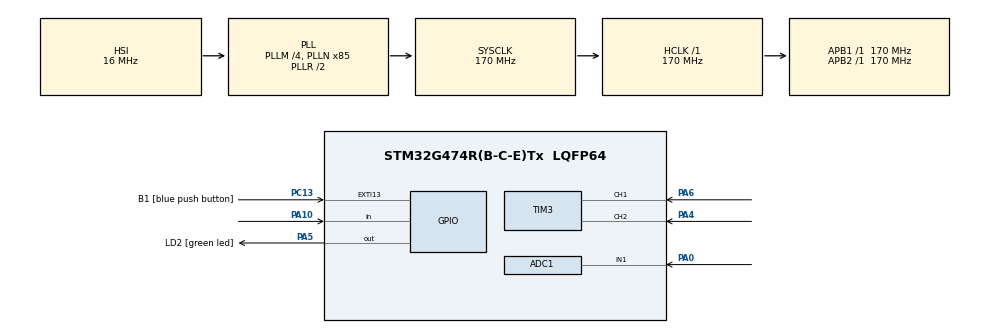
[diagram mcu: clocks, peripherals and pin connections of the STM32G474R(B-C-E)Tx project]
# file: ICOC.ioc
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ADC1.Channel-0\#ChannelRegularConversion=ADC_CHANNEL_1
ADC1.ContinuousConvMode=ENABLE
ADC1.DMAContinuousRequests=ENABLE
ADC1.EOCSelection=ADC_EOC_SINGLE_CONV
ADC1.NbrOfConversionFlag=1
ADC1.OffsetNumber-0\#ChannelRegularConversion=ADC_OFFSET_NONE
ADC1.Rank-0\#ChannelRegularConversion=1
ADC1.SamplingTime-0\#ChannelRegularConversion=ADC_SAMPLETIME_2CYCLES_5
ADC1.master=1
Dma.ADC1.0.Direction=DMA_PERIPH_TO_MEMORY
Dma.ADC1.0.EventEnable=DISABLE
Dma.ADC1.0.Instance=DMA1_Channel1
Dma.ADC1.0.MemDataAlignment=DMA_MDATAALIGN_HALFWORD
Dma.ADC1.0.MemInc=DMA_MINC_ENABLE
Dma.ADC1.0.Mode=DMA_CIRCULAR
Dma.ADC1.0.PeriphDataAlignment=DMA_PDATAALIGN_HALFWORD
Dma.ADC1.0.PeriphInc=DMA_PINC_DISABLE
Dma.ADC1.0.Polarity=HAL_DMAMUX_REQ_GEN_RISING
Dma.ADC1.0.Priority=DMA_PRIORITY_LOW
Dma.ADC1.0.RequestNumber=1
Dma.ADC1.0.SignalID=NONE
Dma.ADC1.0.SyncEnable=DISABLE
Dma.ADC1.0.SyncPolarity=HAL_DMAMUX_SYNC_NO_EVENT
Dma.ADC1.0.SyncRequestNumber=1
Dma.ADC1.0.SyncSignalID=NONE
Dma.Request0=ADC1
Mcu.Family=STM32G4
Mcu.Name=STM32G474R(B-C-E)Tx
Mcu.Package=LQFP64
NVIC.ADC1_2_IRQn=true\:0\:0\:false\:false\:true\:true\:true\:true
NVIC.DMA1_Channel1_IRQn=true\:0\:0\:false\:false\:true\:false\:true\:true
NVIC.EXTI15_10_IRQn=true\:0\:0\:false\:false\:true\:true\:true\:true
NVIC.PriorityGroup=NVIC_PRIORITYGROUP_4
PA0.Mode=IN1-Single-Ended
PA0.Signal=ADC1_IN1
PA10.Signal=GPIO_Input
PA13.GPIO_Label=T_SWDIO
PA13.Signal=SYS_JTMS-SWDIO
PA14.GPIO_Label=T_SWCLK
PA14.Signal=SYS_JTCK-SWCLK
PA2.GPIO_Label=LPUART1_TX [STLINKV3E_VCP_RX]
PA2.Signal=LPUART1_TX
PA3.GPIO_Label=LPUART1_RX [STLINKV3E_VCP_TX]
PA3.Signal=LPUART1_RX
PA4.Signal=S_TIM3_CH2
PA5.GPIO_Label=LD2 [green led]
PA5.Signal=GPIO_Output
PA6.Signal=S_TIM3_CH1
PB3.GPIO_Label=T_SWO
PB3.Signal=SYS_JTDO-SWO
PC13.GPIO_Label=B1 [blue push button]
PC13.Signal=GPXTI13
PC14-OSC32_IN.GPIO_Label=RCC_OSC32_IN
PC14-OSC32_IN.Signal=RCC_OSC32_IN
PC15-OSC32_OUT.GPIO_Label=RCC_OSC32_OUT
PC15-OSC32_OUT.Signal=RCC_OSC32_OUT
PF0-OSC_IN.GPIO_Label=RCC_OSC_IN
PF0-OSC_IN.Signal=RCC_OSC_IN
PF1-OSC_OUT.GPIO_Label=RCC_OSC_OUT
PF1-OSC_OUT.Signal=RCC_OSC_OUT
ProjectManager.HeapSize=0x200
ProjectManager.StackSize=0x400
ProjectManager.TargetToolchain=STM32CubeIDE
RCC.ADC12Freq_Value=170000000
RCC.ADC345Freq_Value=170000000
RCC.AHBFreq_Value=170000000
RCC.APB1Freq_Value=170000000
RCC.APB1TimFreq_Value=170000000
RCC.APB2Freq_Value=170000000
RCC.APB2TimFreq_Value=170000000
RCC.CortexFreq_Value=170000000
RCC.EXTERNAL_CLOCK_VALUE=12288000
RCC.HCLKFreq_Value=170000000
RCC.HSE_VALUE=24000000
RCC.HSI48_VALUE=48000000
RCC.HSI_VALUE=16000000
RCC.LSE_VALUE=32768
RCC.PLLM=RCC_PLLM_DIV4
RCC.PLLN=85
RCC.RTCClockSelection=RCC_RTCCLKSOURCE_LSE
RCC.SYSCLKFreq_VALUE=170000000
RCC.SYSCLKSource=RCC_SYSCLKSOURCE_PLLCLK
RCC.USBFreq_Value=170000000
RCC.VCOOutputFreq_Value=340000000
SH.S_TIM3_CH1.0=TIM3_CH1,Encoder_Interface
SH.S_TIM3_CH2.0=TIM3_CH2,Encoder_Interface
VP_SYS_VS_DBSignals.Mode=DisableDeadBatterySignals
board=NUCLEO-G474RE

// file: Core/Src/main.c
/* USER CODE BEGIN Header */
/**
  ******************************************************************************
  * @file           : main.c
  * @brief          : Main program body
  ******************************************************************************
  * @attention
  *
  * Copyright (c) 2026 STMicroelectronics.
  * All rights reserved.
  *
  * This software is licensed under terms that can be found in the LICENSE file
  * in the root directory of this software component.
  * If no LICENSE file comes with this software, it is provided AS-IS.
  *
  ******************************************************************************
  */
/* USER CODE END Header */
#include "main.h"

ADC_HandleTypeDef hadc1;
DMA_HandleTypeDef hdma_adc1;

TIM_HandleTypeDef htim3;

/* USER CODE BEGIN PV */
uint32_t adc_buffer[40];
uint32_t avg_val = 0;
/* USER CODE END PV */

void SystemClock_Config(void);
static void MX_GPIO_Init(void);
static void MX_DMA_Init(void);
static void MX_TIM3_Init(void);
static void MX_ADC1_Init(void);

int main(void)
{

  /* MCU Configuration--------------------------------------------------------*/

  /* Reset of all peripherals, Initializes the Flash interface and the Systick. */
  HAL_Init();

  /* Configure the system clock */
  SystemClock_Config();

  /* Initialize all configured peripherals */
  MX_GPIO_Init();
  MX_DMA_Init();
  MX_TIM3_Init();
  MX_ADC1_Init();
  /* USER CODE BEGIN 2 */
  HAL_TIM_Base_Start(&htim3);
  HAL_TIM_PWM_Start(&htim3, TIM_CHANNEL_1);
  HAL_ADCEx_Calibration_Start(&hadc1, ADC_SINGLE_ENDED);
  HAL_ADC_Start_DMA(&hadc1, adc_buffer, 40);
  /* USER CODE END 2 */

  /* Infinite loop */
  while (1)
  {

    /* USER CODE BEGIN 3 */
//	  if (HAL_GPIO_ReadPin(GPIOC, GPIO_PIN_13) == GPIO_PIN_RESET)
//	  {
//	      __HAL_TIM_SET_COMPARE(&htim3, TIM_CHANNEL_1, 1000);
//	  }
//	  else
//	  {
//	      __HAL_TIM_SET_COMPARE(&htim3, TIM_CHANNEL_1, 2000);
//	  }
//
//	  HAL_Delay(50);

	  if (HAL_GPIO_ReadPin(GPIOA, GPIO_PIN_10) == GPIO_PIN_RESET)
	  {
	      HAL_Delay(20);

	      if (HAL_GPIO_ReadPin(GPIOA, GPIO_PIN_10) == GPIO_PIN_RESET){

	    	  HAL_GPIO_TogglePin(GPIOA, GPIO_PIN_5);

	    	  // รอจนกว่าจะปล่อยมือ (ถ้าไม่ใส่บรรทัดนี้ ไฟจะกะพริบรัวๆ เวลากดค้าง)
	    	  while(HAL_GPIO_ReadPin(GPIOA, GPIO_PIN_10) == GPIO_PIN_RESET);

	      }
	  }
  }
  /* USER CODE END 3 */
}

void SystemClock_Config(void)
{
  RCC_OscInitTypeDef RCC_OscInitStruct = {0};
  RCC_ClkInitTypeDef RCC_ClkInitStruct = {0};

  /** Configure the main internal regulator output voltage
  */
  HAL_PWREx_ControlVoltageScaling(PWR_REGULATOR_VOLTAGE_SCALE1_BOOST);

  /** Initializes the RCC Oscillators according to the specified parameters
  * in the RCC_OscInitTypeDef structure.
  */
  RCC_OscInitStruct.OscillatorType = RCC_OSCILLATORTYPE_HSI;
  RCC_OscInitStruct.HSIState = RCC_HSI_ON;
  RCC_OscInitStruct.HSICalibrationValue = RCC_HSICALIBRATION_DEFAULT;
  RCC_OscInitStruct.PLL.PLLState = RCC_PLL_ON;
  RCC_OscInitStruct.PLL.PLLSource = RCC_PLLSOURCE_HSI;
  RCC_OscInitStruct.PLL.PLLM = RCC_PLLM_DIV4;
  RCC_OscInitStruct.PLL.PLLN = 85;
  RCC_OscInitStruct.PLL.PLLP = RCC_PLLP_DIV2;
  RCC_OscInitStruct.PLL.PLLQ = RCC_PLLQ_DIV2;
  RCC_OscInitStruct.PLL.PLLR = RCC_PLLR_DIV2;
  if (HAL_RCC_OscConfig(&RCC_OscInitStruct) != HAL_OK)
  {
    Error_Handler();
  }

  /** Initializes the CPU, AHB and APB buses clocks
  */
  RCC_ClkInitStruct.ClockType = RCC_CLOCKTYPE_HCLK|RCC_CLOCKTYPE_SYSCLK
                              |RCC_CLOCKTYPE_PCLK1|RCC_CLOCKTYPE_PCLK2;
  RCC_ClkInitStruct.SYSCLKSource = RCC_SYSCLKSOURCE_PLLCLK;
  RCC_ClkInitStruct.AHBCLKDivider = RCC_SYSCLK_DIV1;
  RCC_ClkInitStruct.APB1CLKDivider = RCC_HCLK_DIV1;
  RCC_ClkInitStruct.APB2CLKDivider = RCC_HCLK_DIV1;

  if (HAL_RCC_ClockConfig(&RCC_ClkInitStruct, FLASH_LATENCY_4) != HAL_OK)
  {
    Error_Handler();
  }
}

static void MX_ADC1_Init(void)
{

  ADC_MultiModeTypeDef multimode = {0};
  ADC_ChannelConfTypeDef sConfig = {0};

  /** Common config
  */
  hadc1.Instance = ADC1;
  hadc1.Init.ClockPrescaler = ADC_CLOCK_SYNC_PCLK_DIV4;
  hadc1.Init.Resolution = ADC_RESOLUTION_12B;
  hadc1.Init.DataAlign = ADC_DATAALIGN_RIGHT;
  hadc1.Init.GainCompensation = 0;
  hadc1.Init.ScanConvMode = ADC_SCAN_DISABLE;
  hadc1.Init.EOCSelection = ADC_EOC_SINGLE_CONV;
  hadc1.Init.LowPowerAutoWait = DISABLE;
  hadc1.Init.ContinuousConvMode = ENABLE;
  hadc1.Init.NbrOfConversion = 1;
  hadc1.Init.DiscontinuousConvMode = DISABLE;
  hadc1.Init.ExternalTrigConv = ADC_SOFTWARE_START;
  hadc1.Init.ExternalTrigConvEdge = ADC_EXTERNALTRIGCONVEDGE_NONE;
  hadc1.Init.DMAContinuousRequests = ENABLE;
  hadc1.Init.Overrun = ADC_OVR_DATA_PRESERVED;
  hadc1.Init.OversamplingMode = DISABLE;
  if (HAL_ADC_Init(&hadc1) != HAL_OK)
  {
    Error_Handler();
  }

  /** Configure the ADC multi-mode
  */
  multimode.Mode = ADC_MODE_INDEPENDENT;
  if (HAL_ADCEx_MultiModeConfigChannel(&hadc1, &multimode) != HAL_OK)
  {
    Error_Handler();
  }

  /** Configure Regular Channel
  */
  sConfig.Channel = ADC_CHANNEL_1;
  sConfig.Rank = ADC_REGULAR_RANK_1;
  sConfig.SamplingTime = ADC_SAMPLETIME_2CYCLES_5;
  sConfig.SingleDiff = ADC_SINGLE_ENDED;
  sConfig.OffsetNumber = ADC_OFFSET_NONE;
  sConfig.Offset = 0;
  if (HAL_ADC_ConfigChannel(&hadc1, &sConfig) != HAL_OK)
  {
    Error_Handler();
  }

}

static void MX_TIM3_Init(void)
{

  TIM_Encoder_InitTypeDef sConfig = {0};
  TIM_MasterConfigTypeDef sMasterConfig = {0};

  htim3.Instance = TIM3;
  htim3.Init.Prescaler = 0;
  htim3.Init.CounterMode = TIM_COUNTERMODE_UP;
  htim3.Init.Period = 65535;
  htim3.Init.ClockDivision = TIM_CLOCKDIVISION_DIV1;
  htim3.Init.AutoReloadPreload = TIM_AUTORELOAD_PRELOAD_DISABLE;
  sConfig.EncoderMode = TIM_ENCODERMODE_TI1;
  sConfig.IC1Polarity = TIM_ICPOLARITY_RISING;
  sConfig.IC1Selection = TIM_ICSELECTION_DIRECTTI;
  sConfig.IC1Prescaler = TIM_ICPSC_DIV1;
  sConfig.IC1Filter = 0;
  sConfig.IC2Polarity = TIM_ICPOLARITY_RISING;
  sConfig.IC2Selection = TIM_ICSELECTION_DIRECTTI;
  sConfig.IC2Prescaler = TIM_ICPSC_DIV1;
  sConfig.IC2Filter = 0;
  if (HAL_TIM_Encoder_Init(&htim3, &sConfig) != HAL_OK)
  {
    Error_Handler();
  }
  sMasterConfig.MasterOutputTrigger = TIM_TRGO_RESET;
  sMasterConfig.MasterSlaveMode = TIM_MASTERSLAVEMODE_DISABLE;
  if (HAL_TIMEx_MasterConfigSynchronization(&htim3, &sMasterConfig) != HAL_OK)
  {
    Error_Handler();
  }

}

static void MX_DMA_Init(void)
{

  /* DMA controller clock enable */
  __HAL_RCC_DMAMUX1_CLK_ENABLE();
  __HAL_RCC_DMA1_CLK_ENABLE();

  /* DMA interrupt init */
  /* DMA1_Channel1_IRQn interrupt configuration */
  HAL_NVIC_SetPriority(DMA1_Channel1_IRQn, 0, 0);
  HAL_NVIC_EnableIRQ(DMA1_Channel1_IRQn);

}

static void MX_GPIO_Init(void)
{
  GPIO_InitTypeDef GPIO_InitStruct = {0};

  /* GPIO Ports Clock Enable */
  __HAL_RCC_GPIOC_CLK_ENABLE();
  __HAL_RCC_GPIOF_CLK_ENABLE();
  __HAL_RCC_GPIOA_CLK_ENABLE();
  __HAL_RCC_GPIOB_CLK_ENABLE();

  /*Configure GPIO pin Output Level */
  HAL_GPIO_WritePin(LD2_GPIO_Port, LD2_Pin, GPIO_PIN_RESET);

  /*Configure GPIO pin : B1_Pin */
  GPIO_InitStruct.Pin = B1_Pin;
  GPIO_InitStruct.Mode = GPIO_MODE_IT_RISING;
  GPIO_InitStruct.Pull = GPIO_NOPULL;
  HAL_GPIO_Init(B1_GPIO_Port, &GPIO_InitStruct);

  /*Configure GPIO pins : LPUART1_TX_Pin LPUART1_RX_Pin */
  GPIO_InitStruct.Pin = LPUART1_TX_Pin|LPUART1_RX_Pin;
  GPIO_InitStruct.Mode = GPIO_MODE_AF_PP;
  GPIO_InitStruct.Pull = GPIO_NOPULL;
  GPIO_InitStruct.Speed = GPIO_SPEED_FREQ_LOW;
  GPIO_InitStruct.Alternate = GPIO_AF12_LPUART1;
  HAL_GPIO_Init(GPIOA, &GPIO_InitStruct);

  /*Configure GPIO pin : LD2_Pin */
  GPIO_InitStruct.Pin = LD2_Pin;
  GPIO_InitStruct.Mode = GPIO_MODE_OUTPUT_PP;
  GPIO_InitStruct.Pull = GPIO_NOPULL;
  GPIO_InitStruct.Speed = GPIO_SPEED_FREQ_LOW;
  HAL_GPIO_Init(LD2_GPIO_Port, &GPIO_InitStruct);

  /*Configure GPIO pin : PA10 */
  GPIO_InitStruct.Pin = GPIO_PIN_10;
  GPIO_InitStruct.Mode = GPIO_MODE_INPUT;
  GPIO_InitStruct.Pull = GPIO_NOPULL;
  HAL_GPIO_Init(GPIOA, &GPIO_InitStruct);

  /* EXTI interrupt init*/
  HAL_NVIC_SetPriority(EXTI15_10_IRQn, 0, 0);
  HAL_NVIC_EnableIRQ(EXTI15_10_IRQn);

}

/* USER CODE BEGIN 4 */
void HAL_ADC_ConvCpltCallback(ADC_HandleTypeDef* hadc)
{
  if(hadc->Instance == ADC1)
  {
    uint32_t sum = 0;
    for(int i = 0; i < 40; i+=1)
    {
        sum += adc_buffer[i];
    }
    avg_val = sum / 40;
  }
}
/* USER CODE END 4 */

void Error_Handler(void)
{
  __disable_irq();
  while (1)
  {
  }
}
